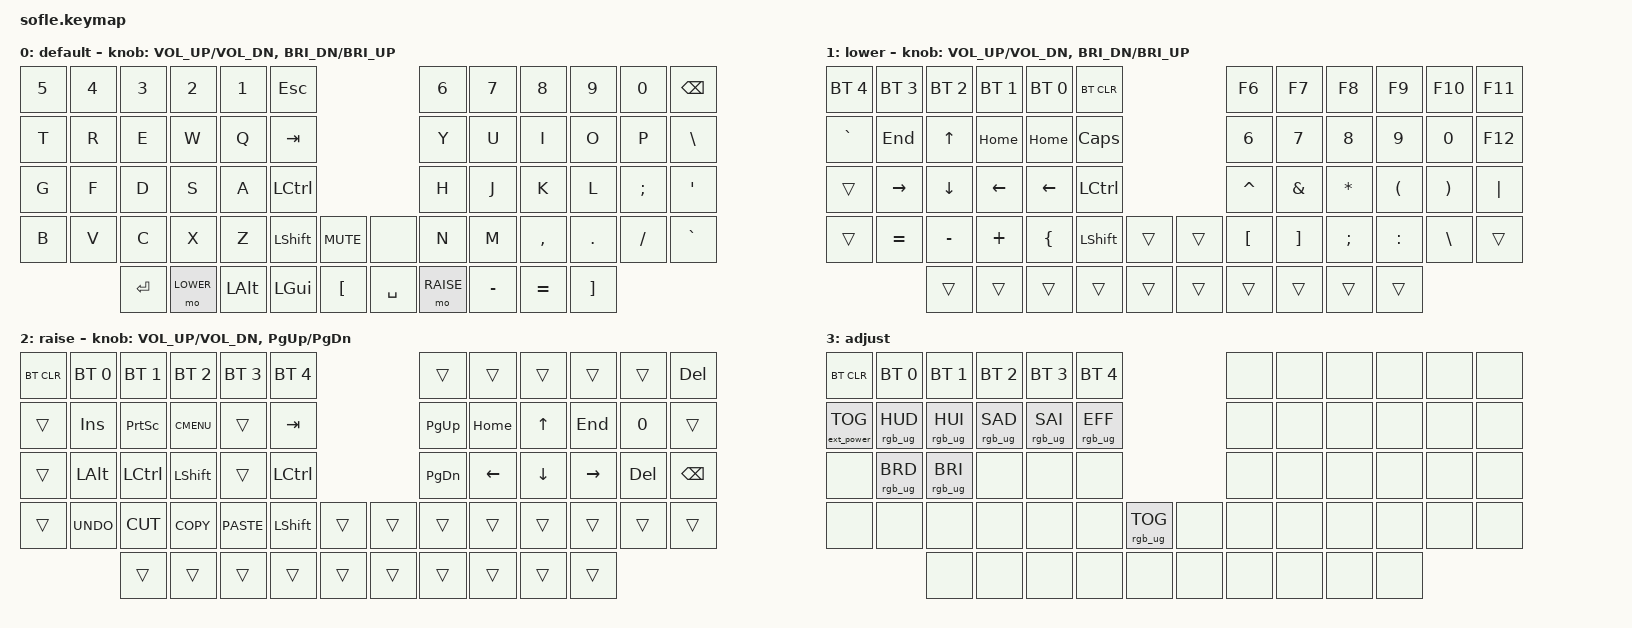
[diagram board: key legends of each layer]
/*
 * Copyright (c) 2020 The ZMK Contributors
 *
 * SPDX-License-Identifier: MIT
 */

#include <behaviors.dtsi>
#include <dt-bindings/zmk/keys.h>
#include <dt-bindings/zmk/bt.h>
#include <dt-bindings/zmk/rgb.h>
#include <dt-bindings/zmk/ext_power.h>

#define BASE 0
#define LOWER 1
#define RAISE 2
#define ADJUST 3

/ {

   // Activate ADJUST layer by pressing raise and lower
    conditional_layers {
        compatible = "zmk,conditional-layers";
        adjust_layer {
            if-layers = <LOWER RAISE>;
            then-layer = <ADJUST>;
        };
    };

    keymap {
        compatible = "zmk,keymap";

        default_layer {
            display-name = "default";
// ------------------------------------------------------------------------------------------------------------
// |   `   |  1  |  2  |  3   |  4   |  5   |                   |  6   |  7    |  8    |  9   |   0   |       |
// |  ESC  |  Q  |  W  |  E   |  R   |  T   |                   |  Y   |  U    |  I    |  O   |   P   | BKSPC |
// |  TAB  |  A  |  S  |  D   |  F   |  G   |                   |  H   |  J    |  K    |  L   |   ;   |   '   |
// | SHIFT |  Z  |  X  |  C   |  V   |  B   |  MUTE  |  |       |  N   |  M    |  ,    |  .   |   /   | SHIFT |
//               | GUI | ALT  | CTRL | LOWER|  ENTER |  | SPACE | RAISE| CTRL  | ALT   | GUI  |
            bindings = <
&kp N5 &kp N4 &kp N3   &kp N2    &kp N1   &kp ESC                            &kp N6     &kp N7    &kp N8     &kp N9    &kp N0    &kp BSPC
&kp T  &kp R  &kp E    &kp W     &kp Q    &kp TAB                            &kp Y      &kp U     &kp I      &kp O     &kp P     &kp BSLH
&kp G  &kp F  &kp D    &kp S     &kp A    &kp LCTRL                          &kp H      &kp J     &kp K      &kp L     &kp SEMI  &kp SQT
&kp B  &kp V  &kp C    &kp X     &kp Z    &kp LSHFT  &kp C_MUTE   &none      &kp N      &kp M     &kp COMMA  &kp DOT   &kp FSLH  &kp GRAVE
              &kp RET  &mo LOWER &kp LALT &kp LGUI   &kp LBKT     &kp SPACE  &mo RAISE  &kp MINUS &kp EQUAL  &kp RBKT
            >;

            sensor-bindings = <&inc_dec_kp C_VOL_UP C_VOL_DN &inc_dec_kp C_BRI_DN C_BRI_UP>;
        };

        lower_layer {
            display-name = "lower";
// TODO: Some binds are waiting for shifted keycode support.
// ------------------------------------------------------------------------------------------------------------
// |       |  F1 |  F2 |  F3  |  F4  |  F5  |                   |  F6  |  F7   |  F8   |  F9  |  F10  |  F11  |
// |   `   |  1  |  2  |  3   |  4   |  5   |                   |  6   |  7    |  8    |  9   |   0   |  F12  |
// |       |  !  |  @  |  #   |  $   |  %   |                   |  ^   |  &    |  *    |  (   |   )   |   |   |
// |       |  =  |  -  |  +   |  {   |  }   |        |  |       |  [   |  ]    |  ;    |  :   |   \   |       |
//               |     |      |      |      |        |  |       |      |       |       |      |
            bindings = <
&bt BT_SEL 4 &bt BT_SEL 3 &bt BT_SEL 2 &bt BT_SEL 1 &bt BT_SEL 0 &bt BT_CLR                  &kp F6    &kp F7   &kp F8    &kp F9    &kp F10   &kp F11
&kp GRAVE    &kp END      &kp UP       &kp HOME     &kp HOME     &kp CAPS                    &kp N6    &kp N7   &kp N8    &kp N9    &kp N0    &kp F12
&trans       &kp RIGHT    &kp DOWN     &kp LEFT     &kp LEFT     &kp LCTRL                   &kp CARET &kp AMPS &kp ASTRK &kp LPAR  &kp RPAR  &kp PIPE
&trans       &kp EQUAL    &kp MINUS    &kp PLUS     &kp LBRC     &kp LSHFT  &trans   &trans  &kp LBKT  &kp RBKT &kp SEMI  &kp COLON &kp BSLH  &trans
                          &trans       &trans       &trans       &trans     &trans   &trans  &trans    &trans   &trans    &trans
            >;

            sensor-bindings = <&inc_dec_kp C_VOL_UP C_VOL_DN &inc_dec_kp C_BRI_DN C_BRI_UP>;
        };

        raise_layer {
            display-name = "raise";
// ------------------------------------------------------------------------------------------------------------
// | BTCLR | BT1  | BT2  |  BT3  |  BT4  |  BT5 |                |      |      |       |      |       |       |
// |       | INS  | PSCR | GUI   |       |      |                | PGUP |      |   ^   |      |       |       |
// |       | ALT  | CTRL | SHIFT |       | CAPS |                | PGDN |   <- |   v   |  ->  |  DEL  | BKSPC |
// |       | UNDO | CUT  | COPY  | PASTE |      |      |  |      |      |      |       |      |       |       |
//                |      |       |       |      |      |  |      |      |      |       |      |
            bindings = <
&bt BT_CLR &bt BT_SEL 0 &bt BT_SEL 1 &bt BT_SEL 2 &bt BT_SEL 3 &bt BT_SEL 4                  &trans     &trans    &trans    &trans    &trans  &kp DEL
&trans     &kp INS      &kp PSCRN    &kp K_CMENU  &trans       &kp TAB                       &kp PG_UP  &kp HOME  &kp UP    &kp END   &kp N0  &trans
&trans     &kp LALT     &kp LCTRL    &kp LSHFT    &trans       &kp LCTRL                     &kp PG_DN  &kp LEFT  &kp DOWN  &kp RIGHT &kp DEL &kp BSPC
&trans     &kp K_UNDO   &kp K_CUT    &kp K_COPY   &kp K_PASTE  &kp LSHFT     &trans  &trans  &trans     &trans    &trans    &trans    &trans  &trans
                        &trans       &trans       &trans       &trans        &trans  &trans  &trans     &trans    &trans    &trans
            >;

            sensor-bindings = <&inc_dec_kp C_VOL_UP C_VOL_DN &inc_dec_kp PG_UP PG_DN>;
        };

        adjust_layer {
// ----------------------------------------------------------------------------------------------------------------------------
// | BTCLR  |  BT1    |  BT2    |   BT3   |   BT4   |   BT5   |                  |      |      |       |      |       |       |
// | EXTPWR | RGB_HUD | RGB_HUI | RGB_SAD | RGB_SAI | RGB_EFF |                  |      |      |       |      |       |       |
// |        | RGB_BRD | RGB_BRI |         |         |         |                  |      |      |       |      |       |       |
// |        |         |         |         |         |         | RGB_TOG | |      |      |      |       |      |       |       |
//                    |         |         |         |         |         | |      |      |      |       |      |
            display-name = "adjust";
            bindings = <
&bt BT_CLR        &bt BT_SEL 0    &bt BT_SEL 1    &bt BT_SEL 2    &bt BT_SEL 3    &bt BT_SEL 4                            &none &none &none &none &none &none
&ext_power EP_TOG &rgb_ug RGB_HUD &rgb_ug RGB_HUI &rgb_ug RGB_SAD &rgb_ug RGB_SAI &rgb_ug RGB_EFF                         &none &none &none &none &none &none
&none             &rgb_ug RGB_BRD &rgb_ug RGB_BRI &none           &none           &none                                   &none &none &none &none &none &none
&none             &none           &none           &none           &none           &none            &rgb_ug RGB_TOG &none  &none &none &none &none &none &none
                                  &none           &none           &none           &none            &none           &none  &none &none &none &none
            >;
        };

    };
};
